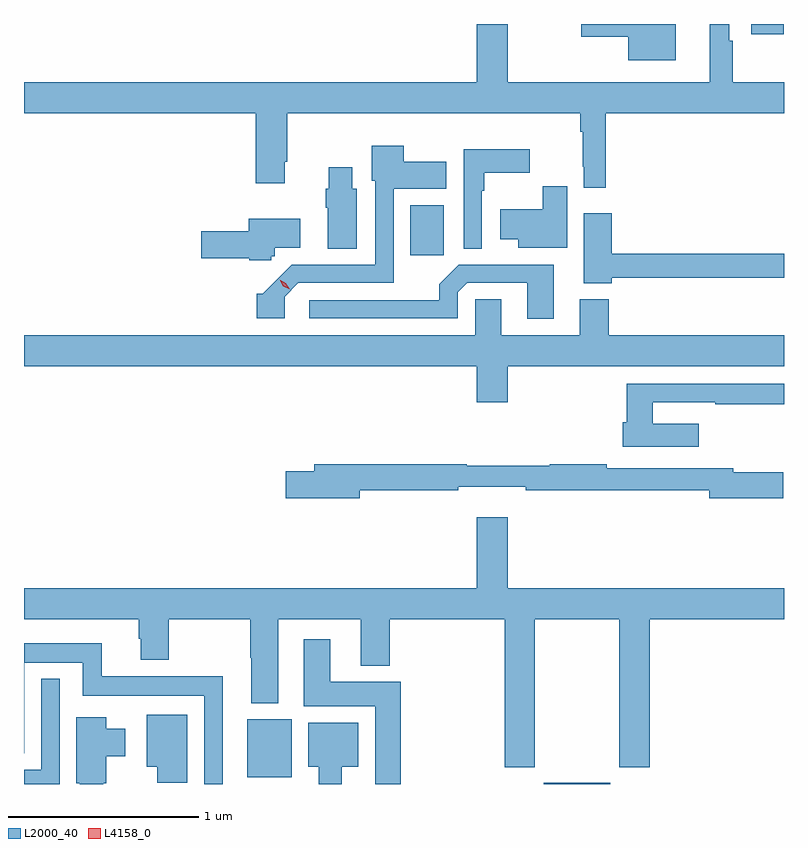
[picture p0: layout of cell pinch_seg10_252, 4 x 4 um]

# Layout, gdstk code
import gdstk
lib = gdstk.Library(unit=1e-6, precision=1e-09)
def R(c, l, rs):  # rectangles x0, y0, x1, y1
    for r in rs: c.add(gdstk.rectangle(r[:2], r[2:], *l))
def P(c, l, *ps):  # polygons
    for p in ps: c.add(gdstk.Polygon(p, *l))
L2000_40 = (2000, 40)
L4158_0 = (4158, 0)

pinch_seg10_252 = lib.new_cell('pinch_seg10_252')
R(pinch_seg10_252, L2000_40, [(548.978,1291.458,549.328,1291.465), (547.418,1291.493,547.651,1291.798), (548.276,1294.241,548.452,1294.504), (550.07,1295.403,550.241,1295.458)])
P(pinch_seg10_252, L2000_40, [(549.305,1294.988),(550.242,1294.988),(550.242,1295.152),(549.973,1295.152),(549.973,1295.369),(549.955,1295.369),(549.955,1295.458),(549.851,1295.458),(549.851,1295.152),(548.788,1295.152),(548.788,1295.458),(548.624,1295.458),(548.624,1295.152),(546.242,1295.152),(546.242,1294.988),(547.463,1294.988),(547.463,1294.62),(547.615,1294.62),(547.615,1294.732),(547.628,1294.732),(547.628,1294.988),(549.169,1294.988),(549.169,1294.892),(549.184,1294.892),(549.184,1294.708),(549.189,1294.708),(549.189,1294.596),(549.305,1294.596)],
  [(549.673,1295.458),(549.174,1295.458),(549.174,1295.39),(549.422,1295.39),(549.422,1295.267),(549.673,1295.267)],
  [(547.614,1294.023),(547.686,1294.095),(548.187,1294.095),(548.187,1294.592),(548.464,1294.592),(548.464,1294.732),(548.241,1294.732),(548.241,1294.816),(548.072,1294.816),(548.072,1294.632),(548.091,1294.632),(548.091,1294.191),(547.65,1294.191),(547.498,1294.039),(547.467,1294.039),(547.467,1293.909),(547.614,1293.909)],
  [(548.652,1294.58),(548.665,1294.58),(548.665,1294.676),(548.905,1294.676),(548.905,1294.798),(548.556,1294.798),(548.556,1294.276),(548.652,1294.276)],
  [(547.993,1294.59),(547.969,1294.59),(547.969,1294.705),(547.847,1294.705),(547.847,1294.59),(547.829,1294.59),(547.829,1294.49),(547.841,1294.49),(547.841,1294.276),(547.993,1294.276)],
  [(549.1,1294.603),(548.971,1294.603),(548.971,1294.483),(548.748,1294.483),(548.748,1294.325),(548.843,1294.325),(548.843,1294.28),(549.1,1294.28)],
  [(549.335,1294.122),(550.242,1294.122),(550.242,1294.25),(549.335,1294.25),(549.335,1294.462),(549.188,1294.462),(549.188,1294.094),(549.335,1294.094)],
  [(547.542,1294.236),(547.563,1294.236),(547.563,1294.28),(547.696,1294.28),(547.696,1294.432),(547.424,1294.432),(547.424,1294.367),(547.176,1294.367),(547.176,1294.225),(547.428,1294.225),(547.428,1294.215),(547.542,1294.215)],
  [(549.031,1294.191),(548.529,1294.191),(548.428,1294.089),(548.428,1294.005),(547.743,1294.005),(547.743,1293.909),(548.526,1293.909),(548.526,1294.047),(548.574,1294.095),(548.891,1294.095),(548.891,1293.906),(549.031,1293.906)],
  [(548.788,1293.656),(550.242,1293.656),(550.242,1293.82),(549.32,1293.82),(549.32,1294.009),(549.167,1294.009),(549.167,1293.82),(548.755,1293.82),(548.755,1294.01),(548.616,1294.01),(548.616,1293.82),(546.242,1293.82),(546.242,1293.656),(548.624,1293.656),(548.624,1293.468),(548.788,1293.468)],
  [(549.793,1293.355),(549.551,1293.355),(549.551,1293.468),(549.88,1293.468),(549.88,1293.456),(550.242,1293.456),(550.242,1293.564),(549.415,1293.564),(549.415,1293.363),(549.392,1293.363),(549.392,1293.233),(549.793,1293.233)],
  [(548.008,1293.004),(548.528,1293.004),(548.528,1293.023),(548.884,1293.023),(548.884,1293.004),(549.848,1293.004),(549.848,1292.962),(550.237,1292.962),(550.237,1293.099),(549.976,1293.099),(549.976,1293.12),(549.308,1293.12),(549.308,1293.14),(549.008,1293.14),(549.008,1293.133),(548.573,1293.133),(548.573,1293.14),(547.769,1293.14),(547.769,1293.104),(547.62,1293.104),(547.62,1292.962),(548.008,1292.962)],
  [(548.931,1292.324),(549.376,1292.324),(549.376,1291.545),(549.536,1291.545),(549.536,1292.324),(550.242,1292.324),(550.242,1292.488),(548.788,1292.488),(548.788,1292.863),(548.624,1292.863),(548.624,1292.488),(546.242,1292.488),(546.242,1292.324),(546.845,1292.324),(546.845,1292.223),(546.857,1292.223),(546.857,1292.111),(547.005,1292.111),(547.005,1292.324),(547.432,1292.324),(547.432,1292.122),(547.439,1292.122),(547.439,1291.883),(547.579,1291.883),(547.579,1292.324),(548.015,1292.324),(548.015,1292.081),(548.168,1292.081),(548.168,1292.324),(548.771,1292.324),(548.771,1291.545),(548.931,1291.545)],
  [(548.225,1291.996),(547.855,1291.996),(547.855,1292.221),(547.715,1292.221),(547.715,1291.868),(548.09,1291.868),(548.09,1291.458),(548.225,1291.458)],
  [(547.288,1292.026),(546.65,1292.026),(546.65,1292.2),(546.242,1292.2),(546.242,1291.619),(546.243,1291.619),(546.243,1292.096),(546.552,1292.096),(546.552,1291.922),(547.191,1291.922),(547.191,1291.458),(547.288,1291.458)],
  [(546.429,1292.011),(546.333,1292.011),(546.333,1291.534),(546.242,1291.534),(546.242,1291.458),(546.429,1291.458)],
  [(547.102,1291.822),(546.887,1291.822),(546.887,1291.55),(546.944,1291.55),(546.944,1291.464),(547.102,1291.464)],
  [(546.658,1291.461),(546.676,1291.461),(546.676,1291.603),(546.775,1291.603),(546.775,1291.75),(546.676,1291.75),(546.676,1291.81),(546.518,1291.81),(546.518,1291.461),(546.536,1291.461),(546.536,1291.458),(546.658,1291.458)],
  [(547.915,1291.55),(548.002,1291.55),(548.002,1291.78),(547.739,1291.78),(547.739,1291.55),(547.793,1291.55),(547.793,1291.458),(547.915,1291.458)])
P(pinch_seg10_252, L4158_0, [(547.64,1294.062),(547.607,1294.079),(547.587,1294.111),(547.587,1294.111),(547.587,1294.111),(547.62,1294.094),(547.64,1294.062),(547.64,1294.062)])

lib.write_gds('pinch_seg10_252.gds')
